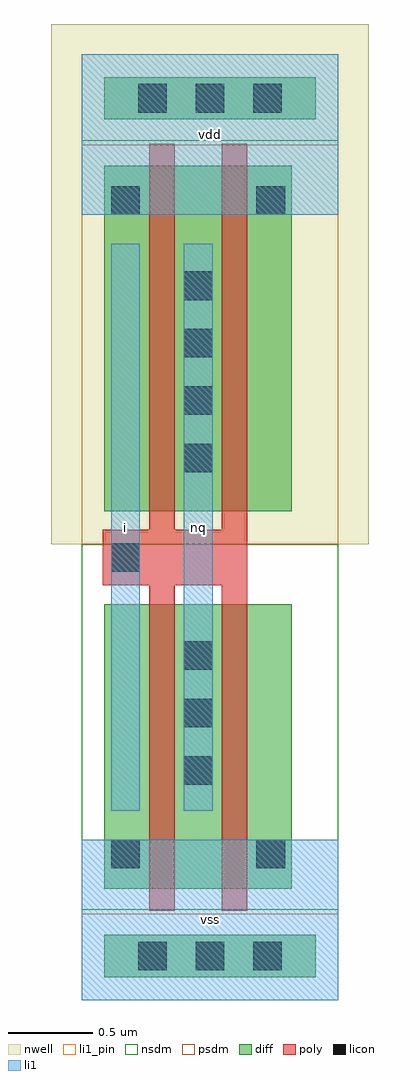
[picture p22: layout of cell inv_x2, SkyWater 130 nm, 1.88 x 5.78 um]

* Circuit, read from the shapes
.subckt inv_x2 i nq vdd vss
XM1 nq i vss VSUBS sky130_fd_pr__nfet_01v8 w=1.685 l=0.15 m=2
XM2 nq i vdd n1 sky130_fd_pr__pfet_01v8 w=2.045 l=0.15 m=2
.ends

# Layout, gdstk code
import gdstk
lib = gdstk.Library(unit=1e-6, precision=1e-09)
def R(c, l, rs):  # rectangles x0, y0, x1, y1
    for r in rs: c.add(gdstk.rectangle(r[:2], r[2:], *l))
def A(c, l, x, y, w, h, nx, ny, dx, dy):  # array of equal rectangles
    R(c, l, [(x+i*dx, y+j*dy, x+i*dx+w, y+j*dy+h) for i in range(nx) for j in range(ny)])
def P(c, l, *ps):  # polygons
    for p in ps: c.add(gdstk.Polygon(p, *l))
nwell = (64, 20)
diff = (65, 20)
poly = (66, 20)
licon = (66, 44)
li1_pin = (67, 16)
li1 = (67, 20)
nsdm = (93, 44)
psdm = (94, 20)

inv_x2 = lib.new_cell('inv_x2')
R(inv_x2, nwell, [(-0.18,2.7,1.7,5.78)])
R(inv_x2, diff, [(0.135,0.135,1.385,0.385), (0.135,0.66,1.245,2.345), (0.135,2.895,1.245,4.94), (0.135,5.215,1.385,5.465)])
P(inv_x2, poly, [(0.4,0.53),(0.4,2.455),(0.125,2.455),(0.125,2.785),(0.4,2.785),(0.4,5.07),(0.55,5.07),(0.55,2.785),(0.83,2.785),(0.83,5.07),(0.98,5.07),(0.98,0.53),(0.83,0.53),(0.83,2.455),(0.55,2.455),(0.55,0.53)])
A(inv_x2, licon, 0.335, 0.175, 0.17, 0.17, 3, 2, 0.34, 5.08)
A(inv_x2, licon, 0.605, 1.275, 0.17, 0.17, 1, 3, 0, 0.34)
A(inv_x2, licon, 0.605, 3.125, 0.17, 0.17, 1, 4, 0, 0.34)
R(inv_x2, licon, [(0.175,0.78,0.345,0.95), (1.035,0.78,1.205,0.95), (0.175,2.535,0.345,2.705), (0.175,4.65,0.345,4.82), (1.035,4.65,1.205,4.82)])
R(inv_x2, li1_pin, [(0,0,1.52,0.95), (0.175,1.12,0.345,4.48), (0.605,1.12,0.775,4.48), (0,4.65,1.52,5.6)])
R(inv_x2, li1, [(0,0,1.52,0.95), (0.175,1.12,0.345,4.48), (0.605,1.12,0.775,4.48), (0,4.65,1.52,5.6)])
R(inv_x2, nsdm, [(0,0.535,1.52,2.7), (0,5.09,1.52,5.6)])
R(inv_x2, psdm, [(0,0,1.52,0.51), (0,2.7,1.52,5.065)])
inv_x2.add(gdstk.Label('vss', (0.76,0.475), layer=67, texttype=16))
inv_x2.add(gdstk.Label('vdd', (0.76,5.125), layer=67, texttype=16))
inv_x2.add(gdstk.Label('nq', (0.69,2.8), layer=67, texttype=16))
inv_x2.add(gdstk.Label('i', (0.26,2.8), layer=67, texttype=16))

lib.write_gds('inv_x2.gds')
